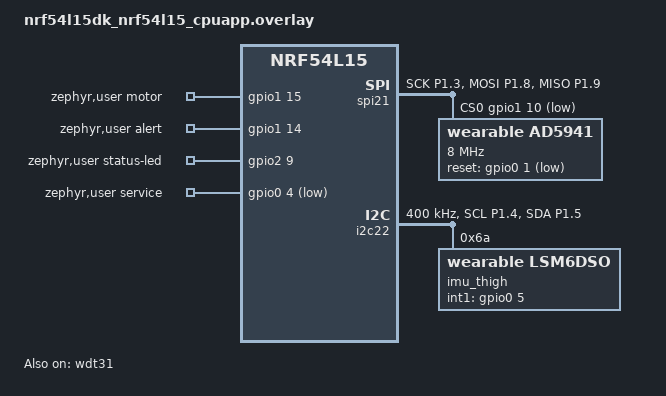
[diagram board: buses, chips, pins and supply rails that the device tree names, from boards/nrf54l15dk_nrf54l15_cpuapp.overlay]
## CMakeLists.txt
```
# EpiPatch thigh patch: AD5941 histamine, thigh IMU (fall + tap cancel),
# vibration countdown and the epinephrine release motor. Shares its algorithm
# and driver code with the chest patch in ../device/src.
cmake_minimum_required(VERSION 3.20.0)

# the wearable,* bindings live in ../device/dts/bindings
list(APPEND DTS_ROOT ${CMAKE_CURRENT_SOURCE_DIR}/../device)

find_package(Zephyr REQUIRED HINTS $ENV{ZEPHYR_BASE})
project(epipatch_thigh LANGUAGES C CXX)

set(DEV_SRC ${CMAKE_CURRENT_SOURCE_DIR}/../device/src)
# thigh/src first, so the shared drivers pick up this patch's board.hpp
target_include_directories(app PRIVATE src ${DEV_SRC})
# no biquad filters here, so no CMSIS-DSP: the plain C++ DSP helpers are enough
target_compile_definitions(app PRIVATE DEV_PORTABLE_DSP)
target_sources(app PRIVATE
  src/main.cpp
  src/patch_link.cpp
  src/drivers/ad5941.cpp
  ${DEV_SRC}/persist.cpp
  ${DEV_SRC}/drivers/alert.cpp
  ${DEV_SRC}/drivers/lsm6dso.cpp
  ${DEV_SRC}/drivers/motor.cpp
)
```

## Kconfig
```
# EpiPatch thigh patch -- application options.
# All thresholds and the sensor calibration are PLACEHOLDERS.

menu "EpiPatch thigh patch"

config APP_WATCHDOG_MS
	int "Hardware watchdog timeout [ms]"
	default 4000

menu "Histamine (AD5941, constant-potential amperometry)"

config APP_HIST_VZERO_MV
	int "Sense-electrode potential Vzero [mV] (200..2366)"
	default 1100

config APP_HIST_BIAS_MV
	int "Sensor bias, reference minus sense electrode [mV]"
	default 0
	help
	  Set from the histamine sensor's datasheet (the potential its
	  working electrode needs). 0 is a placeholder.

config APP_HIST_RTIA
	int "Low-power TIA gain resistor (LPTIARTIA code: 24 = 196 kohm, 26 = 512 kohm)"
	range 1 26
	default 24
	help
	  196 kohm gives about +-6 uA full scale with the default PGA gain of
	  1.5; use a larger one for nA-level sensors.

config APP_HIST_PGA
	int "ADC PGA gain code (0 = 1, 1 = 1.5, 2 = 2, 3 = 4, 4 = 9)"
	range 0 4
	default 1

config APP_HIST_AVERAGES
	int "ADC results averaged per reading"
	range 1 64
	default 16

config APP_HIST_OFFSET_NA
	int "Sensor current at zero histamine [nA]"
	default 0

config APP_HIST_NM_PER_UA
	int "Calibration slope [nM histamine per uA]"
	default 1000

config APP_HIST_MIN_NA
	int "Reading valid from [nA] (below: open or failed sensor)"
	default -500

config APP_HIST_MAX_NA
	int "Reading valid up to [nA] (above: saturated)"
	default 6000

config APP_HIST_RISE_NM
	int "Histamine elevated: at least this far above baseline [nM]"
	default 10

config APP_HIST_RATIO_PCT
	int "...and at least this % of baseline"
	default 150

config APP_HIST_ABS_NM
	int "Histamine elevated at or above this absolute level [nM] (0 = off)"
	default 0

config APP_HIST_WARMUP_S
	int "Sensor settling / first baseline [s]"
	default 300

config APP_HIST_CONFIRM
	int "Consecutive readings to change the elevated state"
	default 2

config APP_HIST_IDLE_PERIOD_S
	int "Read histamine every [s] (and report to the chest)"
	default 120

config APP_HIST_ACTIVE_PERIOD_S
	int "...every [s] while the chest is reading or a countdown runs"
	default 10

endmenu

menu "Thigh IMU (LSM6DSO)"

config APP_TAP_ODR_HZ
	int "Accelerometer rate [Hz] (ST recommends >= 417 for taps)"
	default 417

config APP_TAP_THRESHOLD_MG
	int "Tap threshold [mg] (250 mg steps)"
	default 1500

config APP_TAP_COUNT
	int "Taps that cancel the countdown"
	range 2 8
	default 3

config APP_TAP_WINDOW_MS
	int "All taps within [ms]"
	default 1500

config APP_IMPACT_MG
	int "Impact (wake-up) threshold [mg] (125 mg steps, max 7875)"
	default 2500

config APP_FREEFALL_MG
	int "Free-fall threshold [mg] (156..500)"
	default 312

config APP_FREEFALL_MS
	int "Free-fall minimum duration [ms]"
	default 60

config APP_THIGH_UP_AXIS
	int "IMU axis pointing to the hip when standing (0 +X,1 -X,2 +Y,3 -Y,4 +Z,5 -Z)"
	range 0 5
	default 0

config APP_FALL_CONFIRM_S
	int "Fall: thigh horizontal and still this long after the impact [s]"
	default 10

config APP_STILL_MG
	int "Motionless below [mg] of dynamic acceleration"
	default 50

config APP_IMU_FIFO_WTM
	int "IMU FIFO watermark interrupt [samples at 12.5 Hz]"
	range 8 60
	default 32

endmenu

menu "Countdown and release"

config APP_COUNTDOWN_S
	int "Vibration countdown before the release motor runs [s]"
	default 20

config APP_COOLDOWN_S
	int "After a cancel, ignore non-severe decisions for [s]"
	default 300

config APP_MAX_DEPLOYMENTS
	int "Doses (after the last one the patch does nothing more)"
	range 1 4
	default 1

config APP_REDOSE_S
	int "Earliest next dose if still triggered [s] (only with more than one dose)"
	default 600

config APP_MOTOR_RUN_MS
	int "Release motor on-time limit [ms]"
	default 3000

config APP_MOTOR_REQUIRE_ENDSTOP
	bool "Only a closed end-stop counts as a completed stroke"
	help
	  Needs endstop-gpios in zephyr,user. Without it a stroke that ends on
	  the timer is reported as a motor fault.

endmenu

module = APP
module-str = app
source "subsys/logging/Kconfig.template.log_config"

endmenu

source "Kconfig.zephyr"
```

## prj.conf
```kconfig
# EpiPatch thigh patch. Battery build: no UART, no logging.
# Use debug.conf for logs over RTT.

CONFIG_CPP=y
CONFIG_STD_CPP20=y
CONFIG_REQUIRES_FULL_LIBCPP=y
CONFIG_FPU=y

CONFIG_GPIO=y
CONFIG_SPI=y
CONFIG_I2C=y
CONFIG_WATCHDOG=y
CONFIG_EVENTS=y
CONFIG_SENSOR=n

CONFIG_MAIN_STACK_SIZE=4096
CONFIG_MAIN_THREAD_PRIORITY=4
CONFIG_PM_DEVICE=y

# Bluetooth LE link to the chest patch: peripheral + GATT server, one bonded
# peer, LE Secure Connections only, only the bonded chest may connect
CONFIG_BT=y
CONFIG_BT_PERIPHERAL=y
CONFIG_BT_SMP=y
CONFIG_BT_SMP_SC_ONLY=y
CONFIG_BT_SMP_APP_PAIRING_ACCEPT=y
CONFIG_BT_BONDABLE=y
CONFIG_BT_FILTER_ACCEPT_LIST=y
CONFIG_BT_MAX_CONN=1
CONFIG_BT_MAX_PAIRED=1
CONFIG_BT_SETTINGS=y
CONFIG_BT_DEVICE_NAME="EpiPatch-T"

# deployment latch and the Bluetooth bond in RRAM
CONFIG_FLASH=y
CONFIG_FLASH_MAP=y
CONFIG_ZMS=y
CONFIG_SETTINGS=y
CONFIG_SETTINGS_ZMS=y

CONFIG_SERIAL=n
CONFIG_CONSOLE=n
CONFIG_UART_CONSOLE=n
CONFIG_LOG=n
CONFIG_PRINTK=n
CONFIG_BOOT_BANNER=n
```

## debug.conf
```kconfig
# west build ... -- -DEXTRA_CONF_FILE=debug.conf
# Logs over UART. The overlay's pin map uses the DK's VCOM pins, so for logs
# switch to RTT instead (CONFIG_USE_SEGGER_RTT + CONFIG_LOG_BACKEND_RTT) or remap.
CONFIG_SERIAL=y
CONFIG_CONSOLE=y
CONFIG_LOG=y
CONFIG_PRINTK=y
CONFIG_USE_SEGGER_RTT=y
CONFIG_LOG_BACKEND_RTT=y
CONFIG_LOG_BACKEND_UART=n
CONFIG_UART_CONSOLE=n
CONFIG_RTT_CONSOLE=y
CONFIG_APP_LOG_LEVEL_INF=y
```

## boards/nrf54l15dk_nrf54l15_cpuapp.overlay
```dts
/*
 * Wiring of the thigh patch on an nRF54L15 DK. PIN NUMBERS ARE PLACEHOLDERS:
 * on your own PCB, re-check them against the nRF54L15 pin table (SPI SCK /
 * TWIM SCL must sit on the port's dedicated clock pins).
 *
 *  AD5941 (histamine)  SCK P1.03  MOSI P1.08  MISO P1.09  CS P1.10   (spi21, 8 MHz, mode 0)
 *                      RESET P0.01; sensor on CE0 / RE0 / SE0 (3-electrode cell)
 *  I2C                 SCL P1.04  SDA P1.05 (4.7k pull-ups)  (i2c22, 400 kHz)
 *    LSM6DSO thigh     0x6A (SA0 low), INT1 P0.05
 *  Release motor       MOSFET gate P1.15 (add a 100k gate pull-down)
 *  Vibration motor     P1.14 (through its own transistor)
 *  Status LED          DK LED0 (P2.09)
 *  Service button      DK BUTTON3 (P0.04)
 *  Radio               Bluetooth LE link to the chest patch
 */

/ {
	zephyr,user {
		motor-gpios = <&gpio1 15 GPIO_ACTIVE_HIGH>;
		/* endstop-gpios = <&gpio0 0 (GPIO_ACTIVE_LOW | GPIO_PULL_UP)>; */
		alert-gpios = <&gpio1 14 GPIO_ACTIVE_HIGH>;
		status-led-gpios = <&gpio2 9 GPIO_ACTIVE_HIGH>;
		service-gpios = <&gpio0 4 (GPIO_ACTIVE_LOW | GPIO_PULL_UP)>;
	};
};

&pinctrl {
	spi21_default_alt: spi21_default_alt {
		group1 {
			psels = <NRF_PSEL(SPIM_SCK, 1, 3)>,
				<NRF_PSEL(SPIM_MOSI, 1, 8)>,
				<NRF_PSEL(SPIM_MISO, 1, 9)>;
		};
	};

	spi21_sleep_alt: spi21_sleep_alt {
		group1 {
			psels = <NRF_PSEL(SPIM_SCK, 1, 3)>,
				<NRF_PSEL(SPIM_MOSI, 1, 8)>,
				<NRF_PSEL(SPIM_MISO, 1, 9)>;
			low-power-enable;
		};
	};

	i2c22_default_alt: i2c22_default_alt {
		group1 {
			psels = <NRF_PSEL(TWIM_SCL, 1, 4)>,
				<NRF_PSEL(TWIM_SDA, 1, 5)>;
		};
	};

	i2c22_sleep_alt: i2c22_sleep_alt {
		group1 {
			psels = <NRF_PSEL(TWIM_SCL, 1, 4)>,
				<NRF_PSEL(TWIM_SDA, 1, 5)>;
			low-power-enable;
		};
	};
};

/* DK peripherals sitting on pins we use */
&uart20 {
	status = "disabled";
};

&uart30 {
	status = "disabled";
};

&spi21 {
	status = "okay";
	pinctrl-0 = <&spi21_default_alt>;
	pinctrl-1 = <&spi21_sleep_alt>;
	pinctrl-names = "default", "sleep";
	cs-gpios = <&gpio1 10 GPIO_ACTIVE_LOW>;

	ad5941: ad5941@0 {
		compatible = "wearable,ad5941";
		reg = <0>;
		spi-max-frequency = <8000000>;
		reset-gpios = <&gpio0 1 GPIO_ACTIVE_LOW>;
	};
};

&i2c22 {
	status = "okay";
	clock-frequency = <I2C_BITRATE_FAST>;
	pinctrl-0 = <&i2c22_default_alt>;
	pinctrl-1 = <&i2c22_sleep_alt>;
	pinctrl-names = "default", "sleep";

	imu_thigh: lsm6dso@6a {
		compatible = "wearable,lsm6dso";
		reg = <0x6a>;
		int1-gpios = <&gpio0 5 GPIO_ACTIVE_HIGH>;
	};
};

&gpiote20 {
	status = "okay";
};

&gpiote30 {
	status = "okay";
};

&wdt31 {
	status = "okay";
};
```

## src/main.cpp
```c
// EpiPatch thigh patch, nRF54L15: histamine sensing, fall detection, and the
// countdown, cancel and release of the epinephrine injector.
//
// The chest patch makes every decision. This patch
//   - reads histamine on the AD5941 (every 2 min, every 10 s while the chest
//     is reading or a countdown runs) and reports it, with its fall detection,
//     to the chest over Bluetooth;
//   - when the chest's decision says "trigger", runs the countdown on the
//     vibration motor, lets three taps on either patch cancel it, and then
//     runs the release motor through its MOSFET.
// Once a countdown has started it finishes here even if the link drops. With
// no link the patch does nothing new. After the last dose it does nothing more.
//
// Threads: main (prio 4) event loop; Bluetooth (patch_link.cpp).
// Timers (ISR): release-motor cut-off, vibration/LED patterns.
#include <algorithm>
#include <array>
#include <atomic>
#include <cstdint>
#include <span>

#include <zephyr/drivers/watchdog.h>
#include <zephyr/kernel.h>
#include <zephyr/logging/log.h>
#include <zephyr/spinlock.h>

#include "algo/deploy_controller.hpp"
#include "algo/histamine.hpp"
#include "algo/tap_counter.hpp"
#include "algo/thigh_motion.hpp"
#include "board.hpp"
#include "drivers/ad5941.hpp"
#include "drivers/alert.hpp"
#include "drivers/lsm6dso.hpp"
#include "drivers/motor.hpp"
#include "patch_link.hpp"
#include "persist.hpp"

// "device": the module the shared drivers in ../device/src/drivers log under
LOG_MODULE_REGISTER(device, CONFIG_APP_LOG_LEVEL);

namespace {

using namespace dev;
using algo::DeployController;
using algo::DeployState;

// ---- events into the main loop ---------------------------------------------

enum : uint32_t {
	kEvImu = BIT(0),
	kEvMotor = BIT(1),
	kEvDecision = BIT(2),
	kEvCancel = BIT(3),
	kEvReportNow = BIT(4),
	kEvAll = kEvImu | kEvMotor | kEvDecision | kEvCancel | kEvReportNow,
};

k_event g_events;

void post(void *bit) { k_event_post(&g_events, static_cast<uint32_t>(reinterpret_cast<uintptr_t>(bit))); }

void *ev_arg(uint32_t bit) { return reinterpret_cast<void *>(static_cast<uintptr_t>(bit)); }

// ---- hardware ----------------------------------------------------------------

constinit drv::Ad5941 afe{board::kAd5941Spi, board::kAd5941Reset};
constinit drv::Lsm6dso imu{board::kThighI2c, board::kThighInt};
constinit drv::Motor motor{board::kMotorGate, board::kMotorEndstop};
constinit drv::Alert vibration{board::kAlert, board::kStatusLed};

// ---- algorithms --------------------------------------------------------------

constinit algo::HistamineMonitor hist{};
constinit algo::ThighMotion motion{};
constinit algo::TapCounter taps{};
constinit DeployController deploy{};

// written by the Bluetooth thread
constinit k_spinlock rx_lock{};
constinit patch_msg::Decision pending_decision{};
bool decision_waiting;
std::atomic<bool> motor_result{false};

bool ok_afe, ok_imu;
uint32_t next_hist_ms, last_hist_ms, active_until_ms, report_seq;
DeployState reported_state = DeployState::Monitoring;
uint8_t reported_flags;

// ---- configuration from Kconfig ----------------------------------------------

void configure_algorithms(uint8_t deployments)
{
	// The histamine monitor works in "raw units": here the AD5941 current [nA]
	hist.reset({
		.offset_mv = static_cast<float>(CONFIG_APP_HIST_OFFSET_NA),
		.nm_per_mv = CONFIG_APP_HIST_NM_PER_UA / 1000.0f,
		.min_mv = static_cast<float>(CONFIG_APP_HIST_MIN_NA),
		.max_mv = static_cast<float>(CONFIG_APP_HIST_MAX_NA),
		.rise_nm = static_cast<float>(CONFIG_APP_HIST_RISE_NM),
		.ratio = CONFIG_APP_HIST_RATIO_PCT / 100.0f,
		.abs_nm = static_cast<float>(CONFIG_APP_HIST_ABS_NM),
		.period_ms = CONFIG_APP_HIST_IDLE_PERIOD_S * 1000u,
		.warmup_ms = CONFIG_APP_HIST_WARMUP_S * 1000u,
		.confirm = CONFIG_APP_HIST_CONFIRM,
	});
	motion.reset({
		.up = static_cast<algo::Axis>(std::clamp(CONFIG_APP_THIGH_UP_AXIS, 0, 5)),
		.fall_confirm_ms = CONFIG_APP_FALL_CONFIRM_S * 1000u,
		.still_g = CONFIG_APP_STILL_MG / 1000.0f,
	});
	taps.reset({.taps = CONFIG_APP_TAP_COUNT, .window_ms = CONFIG_APP_TAP_WINDOW_MS});
	deploy.reset(
		{
			.countdown_ms = CONFIG_APP_COUNTDOWN_S * 1000u,
			.cooldown_ms = CONFIG_APP_COOLDOWN_S * 1000u,
			.max_deployments = CONFIG_APP_MAX_DEPLOYMENTS,
			.redose_ms = CONFIG_APP_REDOSE_S * 1000u,
		},
		deployments);
}

// ---- callbacks (Bluetooth thread / ISRs) ---------------------------------------

void on_decision(const patch_msg::Decision &d)
{
	const k_spinlock_key_t key = k_spin_lock(&rx_lock);
	pending_decision = d;
	decision_waiting = true;
	k_spin_unlock(&rx_lock, key);
	k_event_post(&g_events, kEvDecision);
}

void on_cancel() { k_event_post(&g_events, kEvCancel); }

void on_report_now() { k_event_post(&g_events, kEvReportNow); }

void on_motor_done(bool ok, void *)
{
	motor_result = ok;
	k_event_post(&g_events, kEvMotor);
}

// ---- reporting to the chest ------------------------------------------------------

uint8_t report_flags(uint32_t now)
{
	return static_cast<uint8_t>((hist.valid() ? patch_msg::kHistValid : 0) |
				    (hist.elevated() ? patch_msg::kHistElevated : 0) |
				    (motion.fall() ? patch_msg::kFall : 0) |
				    (ok_imu && motion.valid(now) ? patch_msg::kImuValid : 0));
}

void send_report(uint32_t now)
{
	reported_flags = report_flags(now);
	reported_state = deploy.state();
	link::send_report({
		.type = patch_msg::Type::Report,
		.flags = reported_flags,
		.deploy_state = static_cast<uint8_t>(reported_state),
		.deployments = deploy.deployments(),
		.hist_nm = hist.nm(),
		.hist_baseline_nm = hist.baseline_nm(),
		.activity_g = motion.activity_g(),
		.seq = ++report_seq,
	});
}

// report as soon as anything the chest decides on changes
void report_if_changed(uint32_t now)
{
	if (report_flags(now) != reported_flags || deploy.state() != reported_state) {
		send_report(now);
	}
}

// ---- main-loop handlers ----------------------------------------------------------

void handle_action(DeployController::Action act, uint32_t now)
{
	using Action = DeployController::Action;
	switch (act) {
	case Action::StartAlert:
		motor.arm();
		vibration.play(drv::Alert::kCountdown, true);
		LOG_WRN("COUNTDOWN: releasing in %d s unless cancelled", CONFIG_APP_COUNTDOWN_S);
		break;
	case Action::Cancelled:
		motor.disarm();
		vibration.play(drv::Alert::kCancelAck, true);
		LOG_WRN("cancelled");
		break;
	case Action::Fire: {
		LOG_WRN("RELEASING");
		const int err = motor.fire(CONFIG_APP_MOTOR_RUN_MS, IS_ENABLED(CONFIG_APP_MOTOR_REQUIRE_ENDSTOP));
		if (err) {
			LOG_ERR("release motor failed (%d)", err);
			handle_action(deploy.motor_done(false, now), now);
		}
		break;
	}
	case Action::Deployed:
	case Action::Fault:
		persist::save(deploy.deployments());
		vibration.play(act == Action::Deployed ? drv::Alert::kDeployed : drv::Alert::kFault, true);
		LOG_WRN("%s (deployments %d)", act == Action::Deployed ? "deployed" : "RELEASE MOTOR FAULT",
			deploy.deployments());
		break;
	case Action::Resume:
		vibration.play(drv::Alert::kOff, false);
		break;
	case Action::None:
		break;
	}
	if (act != Action::None) {
		send_report(now);
	}
}

bool counting()
{
	const DeployState s = deploy.state();
	return s == DeployState::Alert || s == DeployState::Deploying || s == DeployState::Cancelled;
}

void apply_decision(uint32_t now)
{
	patch_msg::Decision d;
	{
		const k_spinlock_key_t key = k_spin_lock(&rx_lock);
		if (!decision_waiting) {
			k_spin_unlock(&rx_lock, key);
			return;
		}
		d = pending_decision;
		decision_waiting = false;
		k_spin_unlock(&rx_lock, key);
	}
	algo::Assessment a{};
	a.findings = d.findings;
	a.trigger = d.trigger != 0;
	a.severe = d.severe != 0;
	if (a.trigger) {
		LOG_WRN("chest decision: trigger, findings 0x%03x%s", a.findings, a.severe ? " (severe)" : "");
	}
	// the chest is reading: keep histamine fresh for a while
	active_until_ms = now + 30000;
	handle_action(deploy.update(a, now), now);
}

void cancel(uint32_t now, const char *from)
{
	const auto act = deploy.cancel(now);
	if (act != DeployController::Action::None) {
		LOG_WRN("cancel from the %s", from);
	}
	handle_action(act, now);
}

void read_fifo(uint32_t now)
{
	std::array<algo::Vec3, drv::Lsm6dso::kMaxFifo> buf;
	const int n = imu.read_fifo(buf);
	if (n > 0) {
		motion.samples(std::span(buf).first(static_cast<std::size_t>(n)), now, drv::Lsm6dso::kFifoDtMs);
	}
}

void handle_imu(uint32_t now)
{
	for (int i = 0; i < 4; ++i) {
		const int ev = imu.events();
		if (ev < 0) {
			return;
		}
		if ((ev & drv::Lsm6dso::kTap) && taps.on_tap(now)) {
			cancel(now, "thigh");
		}
		if (ev & drv::Lsm6dso::kImpact) {
			motion.impact(now);
		}
		if (ev & drv::Lsm6dso::kFreeFall) {
			motion.freefall(now);
		}
		if (ev & drv::Lsm6dso::kFifo) {
			read_fifo(now);
		}
		if (!imu.irq_active()) {
			return;
		}
	}
}

void read_histamine(uint32_t now)
{
	float na = 0.0f;
	const bool ok = ok_afe && afe.read_na(na) == 0;
	hist.sample(ok ? na : static_cast<float>(CONFIG_APP_HIST_MIN_NA) - 1.0f, now);
	last_hist_ms = now;
	const bool busy = counting() || static_cast<int32_t>(active_until_ms - now) > 0;
	next_hist_ms = now + (busy ? CONFIG_APP_HIST_ACTIVE_PERIOD_S : CONFIG_APP_HIST_IDLE_PERIOD_S) * 1000u;
}

// ---- boot helpers ------------------------------------------------------------------

// Holding the service button for 3 s at power-up clears the "already
// deployed" latch after the injector has been replaced.
bool service_clear_requested()
{
	if (!DT_NODE_HAS_PROP(DEV_USER_NODE, service_gpios) ||
	    gpio_pin_configure_dt(&board::kService, GPIO_INPUT)) {
		return false;
	}
	for (int i = 0; i < 30; ++i) {
		if (gpio_pin_get_dt(&board::kService) <= 0) {
			return false;
		}
		k_msleep(100);
	}
	return true;
}

struct Watchdog {
	const device *dev = nullptr;
	int channel = -1;

	void start()
	{
#if DT_NODE_HAS_STATUS(DT_ALIAS(watchdog0), okay)
		dev = DEVICE_DT_GET(DT_ALIAS(watchdog0));
		if (!device_is_ready(dev)) {
			dev = nullptr;
			return;
		}
		wdt_timeout_cfg cfg{};
		cfg.window.min = 0;
		cfg.window.max = CONFIG_APP_WATCHDOG_MS;
		cfg.flags = WDT_FLAG_RESET_SOC;
		channel = wdt_install_timeout(dev, &cfg);
		if (channel < 0 || wdt_setup(dev, WDT_OPT_PAUSE_HALTED_BY_DBG) != 0) {
			dev = nullptr;
		}
#endif
	}
	void feed()
	{
		if (dev) {
			wdt_feed(dev, channel);
		}
	}
};

} // namespace

int main()
{
	k_event_init(&g_events);
	vibration.init();
	if (motor.init(on_motor_done, nullptr) != 0) {
		LOG_ERR("release motor gate GPIO not ready");
	}

	uint8_t deployments = 0;
	if (persist::load(deployments) != 0) {
		LOG_WRN("deployment latch not readable; assuming none");
	}
	if (deployments > 0 && service_clear_requested()) {
		deployments = 0;
		persist::save(0);
		vibration.play(drv::Alert::kCancelAck, true);
		LOG_WRN("deployment latch cleared");
	}
	configure_algorithms(deployments);

	ok_afe = afe.init({
			 .vzero_mv = static_cast<float>(CONFIG_APP_HIST_VZERO_MV),
			 .bias_mv = static_cast<float>(CONFIG_APP_HIST_BIAS_MV),
			 .rtia = CONFIG_APP_HIST_RTIA,
			 .pga = CONFIG_APP_HIST_PGA,
			 .averages = CONFIG_APP_HIST_AVERAGES,
		 }) == 0;
	ok_imu = imu.init(
			 {
				 .odr_hz = static_cast<uint16_t>(CONFIG_APP_TAP_ODR_HZ),
				 .low_power = false,
				 .tap = true,
				 .tap_mg = CONFIG_APP_TAP_THRESHOLD_MG,
				 .impact_mg = CONFIG_APP_IMPACT_MG,
				 .freefall_mg = CONFIG_APP_FREEFALL_MG,
				 .freefall_ms = CONFIG_APP_FREEFALL_MS,
				 .fifo_wtm = CONFIG_APP_IMU_FIFO_WTM,
			 },
			 post, ev_arg(kEvImu)) == 0;
	const int bt_err = link::start({.decision = on_decision, .cancel = on_cancel, .report_now = on_report_now});
	LOG_INF("thigh: histamine %d imu %d bluetooth %d deployments %d", ok_afe, ok_imu, bt_err == 0,
		deployments);
	if (deploy.state() == DeployState::Deployed) {
		vibration.play(drv::Alert::kDeployed, false); // LED only after a reboot
	}

	Watchdog wdt;
	wdt.start();

	uint32_t now = k_uptime_get_32();
	next_hist_ms = now;
	uint32_t next_tick = now + 1000;

	for (;;) {
		// 1 s ticks while a countdown runs; otherwise sleep until the next
		// histamine reading, waking at least twice per watchdog period
		now = k_uptime_get_32();
		uint32_t wait = CONFIG_APP_WATCHDOG_MS / 2;
		const auto to_hist = static_cast<int32_t>(next_hist_ms - now);
		wait = std::min<uint32_t>(wait, to_hist > 0 ? static_cast<uint32_t>(to_hist) : 0);
		if (counting()) {
			const auto to_tick = static_cast<int32_t>(next_tick - now);
			wait = std::min<uint32_t>(wait, to_tick > 0 ? static_cast<uint32_t>(to_tick) : 0);
		}
		const uint32_t ev = k_event_wait(&g_events, kEvAll, false, K_MSEC(wait));
		k_event_clear(&g_events, ev);
		now = k_uptime_get_32();

		if (ev & kEvImu) {
			handle_imu(now);
		}
		if (ev & kEvMotor) {
			handle_action(deploy.motor_done(motor_result, now), now);
		}
		if (ev & kEvCancel) {
			cancel(now, "chest");
		}
		if (ev & kEvDecision) {
			apply_decision(now);
		}
		if (ev & kEvReportNow) {
			active_until_ms = now + 30000;
			if (now - last_hist_ms > 5000) {
				read_histamine(now);
			}
			send_report(now);
		}

		if (static_cast<int32_t>(now - next_hist_ms) >= 0) {
			read_histamine(now);
			send_report(now); // also the link's heartbeat
		}
		if (counting()) {
			if (static_cast<int32_t>(now - next_tick) >= 0) {
				// countdown, cooldown and release timing run here, link or no link
				handle_action(deploy.update({}, now), now);
				if (deploy.state() == DeployState::Alert && deploy.countdown_left_ms(now) <= 5000 &&
				    vibration.current() != &drv::Alert::kCountdownEnd) {
					vibration.play(drv::Alert::kCountdownEnd, true);
				}
				next_tick = now + 1000;
			}
		} else {
			next_tick = now + 1000;
		}
		report_if_changed(now);
		wdt.feed();
	}
	return 0;
}
```

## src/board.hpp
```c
// Every devicetree-described part of the thigh patch in one place.
// See boards/*.overlay for the wiring; ../device/dts/bindings for the properties.
#pragma once

#include <zephyr/devicetree.h>
#include <zephyr/drivers/gpio.h>
#include <zephyr/drivers/i2c.h>
#include <zephyr/drivers/spi.h>

namespace dev::board {

#define DEV_AD5941_NODE DT_NODELABEL(ad5941)
#define DEV_IMU_THIGH_NODE DT_NODELABEL(imu_thigh)
#define DEV_USER_NODE DT_PATH(zephyr_user)

#if !DT_NODE_HAS_STATUS(DEV_AD5941_NODE, okay) || !DT_NODE_HAS_STATUS(DEV_IMU_THIGH_NODE, okay)
#error "Devicetree needs nodes labelled ad5941 and imu_thigh (see boards/)"
#endif
#if !DT_NODE_HAS_PROP(DEV_USER_NODE, motor_gpios) || !DT_NODE_HAS_PROP(DEV_USER_NODE, alert_gpios)
#error "zephyr,user needs motor-gpios (release motor MOSFET) and alert-gpios (vibration motor)"
#endif

// AD5941 on SPI mode 0, MSB first
inline constexpr spi_dt_spec kAd5941Spi = SPI_DT_SPEC_GET(DEV_AD5941_NODE, SPI_WORD_SET(8) | SPI_TRANSFER_MSB);
inline constexpr gpio_dt_spec kAd5941Reset = GPIO_DT_SPEC_GET_OR(DEV_AD5941_NODE, reset_gpios, {});

inline constexpr i2c_dt_spec kThighI2c = I2C_DT_SPEC_GET(DEV_IMU_THIGH_NODE);
inline constexpr gpio_dt_spec kThighInt = GPIO_DT_SPEC_GET(DEV_IMU_THIGH_NODE, int1_gpios);

// release motor: MOSFET gate (active = motor on), optional end-of-travel switch
inline constexpr gpio_dt_spec kMotorGate = GPIO_DT_SPEC_GET(DEV_USER_NODE, motor_gpios);
inline constexpr gpio_dt_spec kMotorEndstop = GPIO_DT_SPEC_GET_OR(DEV_USER_NODE, endstop_gpios, {});

// vibration motor (its own GPIO), status LED, service button
inline constexpr gpio_dt_spec kAlert = GPIO_DT_SPEC_GET(DEV_USER_NODE, alert_gpios);
inline constexpr gpio_dt_spec kStatusLed = GPIO_DT_SPEC_GET_OR(DEV_USER_NODE, status_led_gpios, {});
inline constexpr gpio_dt_spec kService = GPIO_DT_SPEC_GET_OR(DEV_USER_NODE, service_gpios, {});

} // namespace dev::board
```

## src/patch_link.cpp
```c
#include "patch_link.hpp"

#include <atomic>
#include <cstring>

#include <zephyr/bluetooth/bluetooth.h>
#include <zephyr/bluetooth/conn.h>
#include <zephyr/bluetooth/gatt.h>
#include <zephyr/kernel.h>
#include <zephyr/logging/log.h>
#include <zephyr/settings/settings.h>

#include "patch_ble.hpp"

LOG_MODULE_REGISTER(link, CONFIG_APP_LOG_LEVEL);

namespace dev::link {
namespace {

namespace msg = dev::patch_msg;

Callbacks cbs;
std::atomic<bool> notify_on{false};
std::atomic<bool> encrypted{false};

bt_addr_le_t bond_addr;
bool have_bond;

// ---- GATT service ---------------------------------------------------------------

ssize_t on_write(bt_conn *, const bt_gatt_attr *, const void *buf, uint16_t len, uint16_t offset, uint8_t)
{
	if (offset != 0 || len < 1) {
		return BT_GATT_ERR(BT_ATT_ERR_INVALID_OFFSET);
	}
	switch (static_cast<msg::Type>(*static_cast<const uint8_t *>(buf))) {
	case msg::Type::Decision:
		if (len == sizeof(msg::Decision) && cbs.decision) {
			msg::Decision d;
			std::memcpy(&d, buf, sizeof(d));
			cbs.decision(d);
		}
		break;
	case msg::Type::Cancel:
		if (len == sizeof(msg::Cancel) && cbs.cancel) {
			cbs.cancel();
		}
		break;
	case msg::Type::ReportNow:
		if (cbs.report_now) {
			cbs.report_now();
		}
		break;
	default:
		break;
	}
	return len;
}

void ccc_changed(const bt_gatt_attr *, uint16_t value) { notify_on = value == BT_GATT_CCC_NOTIFY; }

// attrs: [0] service, [1]/[2] to-thigh decl/value, [3]/[4] to-chest decl/value, [5] CCC
BT_GATT_SERVICE_DEFINE(epipatch_svc, BT_GATT_PRIMARY_SERVICE(EPIPATCH_UUID_SVC),
		       BT_GATT_CHARACTERISTIC(EPIPATCH_UUID_TO_THIGH, BT_GATT_CHRC_WRITE_WITHOUT_RESP,
					      BT_GATT_PERM_WRITE_ENCRYPT, nullptr, on_write, nullptr),
		       BT_GATT_CHARACTERISTIC(EPIPATCH_UUID_TO_CHEST, BT_GATT_CHRC_NOTIFY, BT_GATT_PERM_NONE,
					      nullptr, nullptr, nullptr),
		       BT_GATT_CCC(ccc_changed, BT_GATT_PERM_READ_ENCRYPT | BT_GATT_PERM_WRITE_ENCRYPT), );

// ---- bonds: only the paired chest patch -----------------------------------------

void bond_cb(const bt_bond_info *info, void *)
{
	bond_addr = info->addr;
	have_bond = true;
}

void load_bond()
{
	have_bond = false;
	bt_foreach_bond(BT_ID_DEFAULT, bond_cb, nullptr);
}

bt_security_err pairing_accept(bt_conn *, const bt_conn_pairing_feat *)
{
	load_bond();
	if (have_bond) {
		LOG_WRN("pairing refused: already paired to a chest patch");
		return BT_SECURITY_ERR_PAIR_NOT_ALLOWED;
	}
	return BT_SECURITY_ERR_SUCCESS;
}

void pairing_complete(bt_conn *, bool bonded)
{
	LOG_INF("paired with the chest patch (bonded %d)", bonded);
	load_bond();
}

void pairing_failed(bt_conn *, bt_security_err reason) { LOG_WRN("pairing failed (%d)", reason); }

bt_conn_auth_cb auth_cb = {.pairing_accept = pairing_accept};
bt_conn_auth_info_cb auth_info_cb = {.pairing_complete = pairing_complete, .pairing_failed = pairing_failed};

// ---- advertising ------------------------------------------------------------------

const bt_data ad[] = {
	BT_DATA_BYTES(BT_DATA_FLAGS, (BT_LE_AD_GENERAL | BT_LE_AD_NO_BREDR)),
	BT_DATA_BYTES(BT_DATA_UUID128_ALL, EPIPATCH_UUID_SVC_VAL),
};
const bt_data sd[] = {
	BT_DATA(BT_DATA_NAME_COMPLETE, CONFIG_BT_DEVICE_NAME, sizeof(CONFIG_BT_DEVICE_NAME) - 1),
};

void start_advertising()
{
	load_bond();
	uint32_t options = BT_LE_ADV_OPT_CONN;
	if (have_bond) {
		// once paired, only the chest patch may connect
		bt_le_filter_accept_list_clear();
		bt_le_filter_accept_list_add(&bond_addr);
		options |= BT_LE_ADV_OPT_FILTER_CONN;
	}
	const bt_le_adv_param p =
		BT_LE_ADV_PARAM_INIT(options, BT_GAP_ADV_SLOW_INT_MIN, BT_GAP_ADV_SLOW_INT_MAX, nullptr);
	const int err = bt_le_adv_start(&p, ad, ARRAY_SIZE(ad), sd, ARRAY_SIZE(sd));
	if (err && err != -EALREADY) {
		LOG_ERR("advertising failed (%d)", err);
	}
}

// ---- connection events ---------------------------------------------------------

void connected(bt_conn *c, uint8_t err)
{
	if (err) {
		return;
	}
	// nothing is accepted until the link is encrypted (characteristic permissions)
	bt_conn_set_security(c, BT_SECURITY_L2);
}

void disconnected(bt_conn *, uint8_t reason)
{
	encrypted = false;
	notify_on = false;
	LOG_INF("chest patch disconnected (0x%02x)", reason);
}

void recycled() { start_advertising(); }

void security_changed(bt_conn *c, bt_security_t level, bt_security_err err)
{
	if (err || level < BT_SECURITY_L2) {
		LOG_WRN("link not encrypted (%d), dropping", err);
		bt_conn_disconnect(c, BT_HCI_ERR_AUTH_FAIL);
		return;
	}
	encrypted = true;
	LOG_INF("chest patch linked");
}

BT_CONN_CB_DEFINE(conn_callbacks) = {
	.connected = connected,
	.disconnected = disconnected,
	.recycled = recycled,
	.security_changed = security_changed,
};

} // namespace

int start(const Callbacks &cb)
{
	cbs = cb;
	bt_conn_auth_cb_register(&auth_cb);
	bt_conn_auth_info_cb_register(&auth_info_cb);
	int err = bt_enable(nullptr);
	if (err) {
		return err;
	}
	settings_load_subtree("bt");
	start_advertising();
	LOG_INF("Bluetooth up; %s", have_bond ? "waiting for the paired chest patch" : "unpaired: open for pairing");
	return 0;
}

bool ready() { return encrypted && notify_on; }

void send_report(const msg::Report &r)
{
	if (ready()) {
		bt_gatt_notify(nullptr, &epipatch_svc.attrs[4], &r, sizeof(r));
	}
}

} // namespace dev::link
```

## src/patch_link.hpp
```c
// Thigh side of the Bluetooth LE link to the chest patch (peripheral, GATT
// server). Receives the chest's decisions, cancels and report requests over
// an encrypted link, and notifies Reports back.
// Callbacks run on the Bluetooth thread: post an event and return.
#pragma once

#include "patch_msgs.hpp"

namespace dev::link {

struct Callbacks {
	void (*decision)(const patch_msg::Decision &d);
	void (*cancel)();
	void (*report_now)();
};

int start(const Callbacks &cb);

// the chest is connected over an encrypted link and listening
bool ready();

void send_report(const patch_msg::Report &r);

} // namespace dev::link
```
